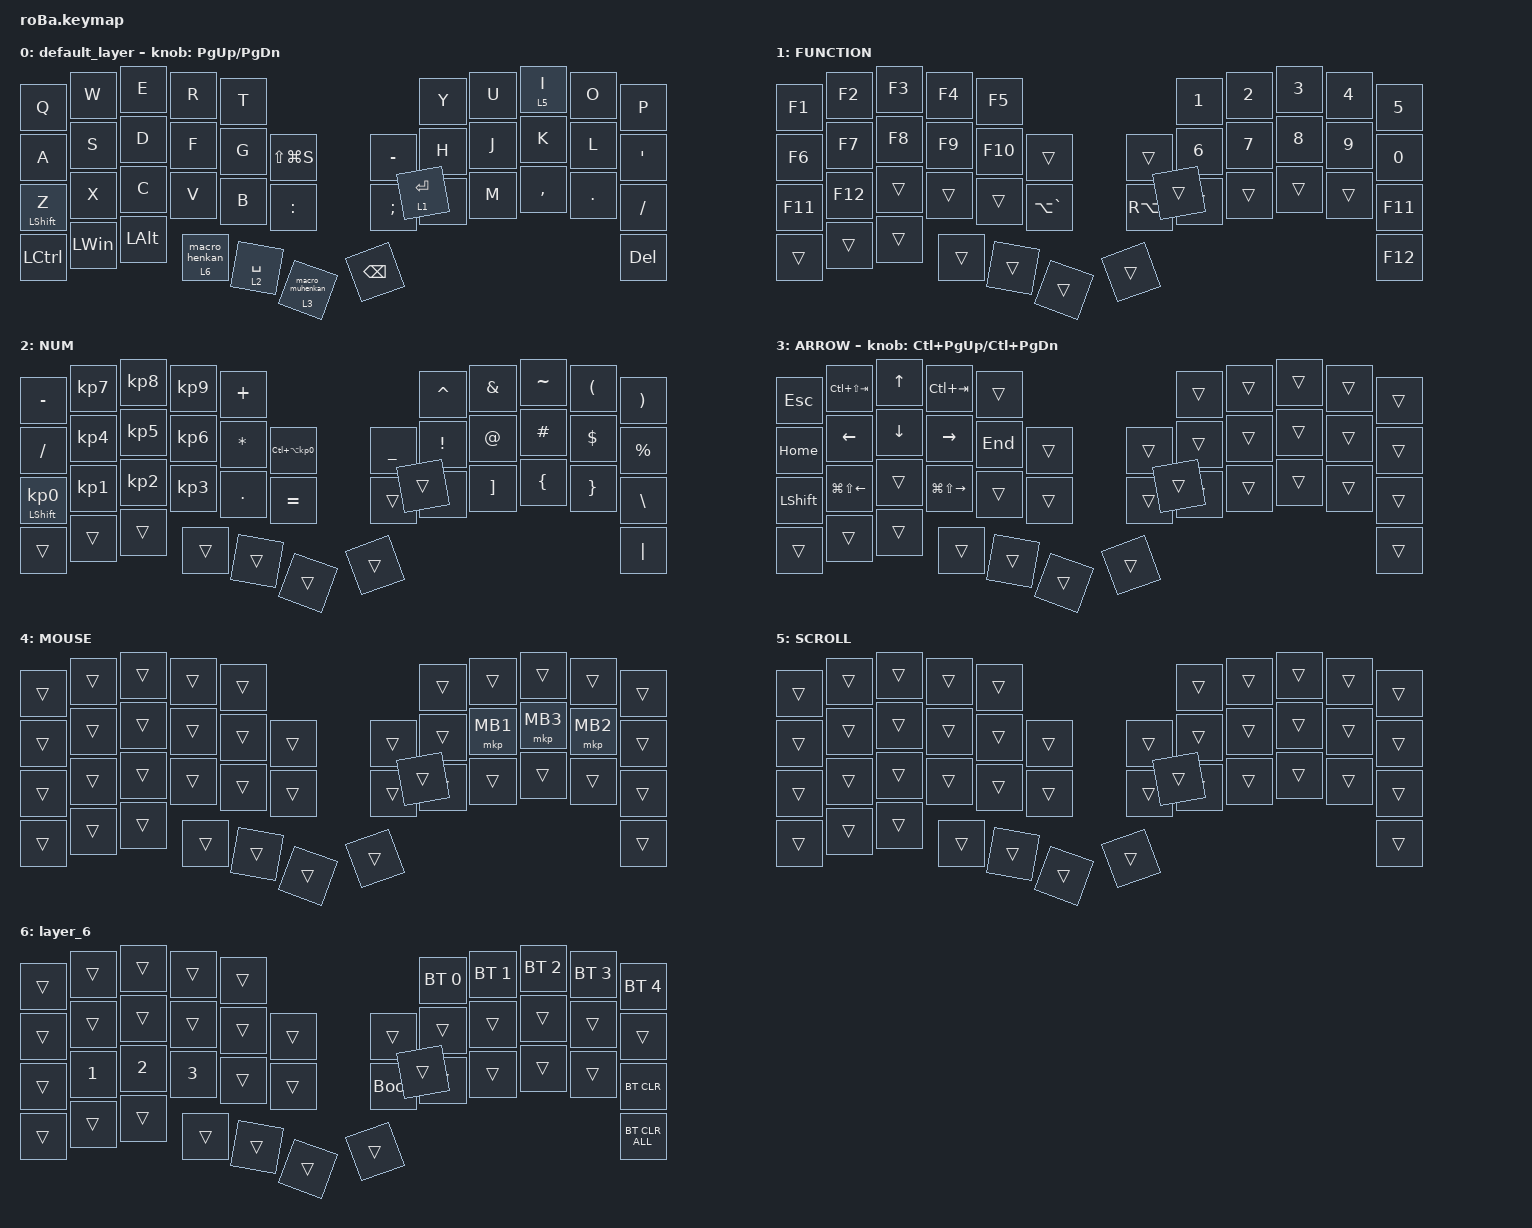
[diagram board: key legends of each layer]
#include <behaviors.dtsi>
#include <dt-bindings/zmk/bt.h>
#include <dt-bindings/zmk/keys.h>
#include <dt-bindings/zmk/pointing.h>

#define MACRO_PLACEHOLDER 0

&mt {
    flavor = "balanced";
    quick-tap-ms = <0>;
};

/ {
    combos {
        compatible = "zmk,combos";

        tab {
            bindings = <&kp TAB>;
            key-positions = <11 12>;
        };

        shift_tab {
            bindings = <&kp LS(TAB)>;
            key-positions = <12 13>;
        };

        muhennkann {
            bindings = <&to_layer_0 INT_MUHENKAN>;
            key-positions = <11 10>;
        };

        double_quotation {
            bindings = <&kp DOUBLE_QUOTES>;
            key-positions = <20 21>;
        };

        eq {
            bindings = <&kp EQUAL>;
            key-positions = <24 25>;
        };
    };

    macros {
        jis_at: jis_at { compatible = "zmk,behavior-macro"; #binding-cells = <0>; bindings = <&kp LBKT>; label = "JIS_AT"; };
        jis_colon: jis_colon { compatible = "zmk,behavior-macro"; #binding-cells = <0>; bindings = <&kp SQT>; label = "JIS_COLON"; };
        jis_plus: jis_plus { compatible = "zmk,behavior-macro"; #binding-cells = <0>; bindings = <&kp LS(SEMI)>; label = "JIS_PLUS"; };
        jis_star: jis_star { compatible = "zmk,behavior-macro"; #binding-cells = <0>; bindings = <&kp LS(SQT)>; label = "JIS_STAR"; };
        jis_equal: jis_equal { compatible = "zmk,behavior-macro"; #binding-cells = <0>; bindings = <&kp LS(MINUS)>; label = "JIS_EQUAL"; };
        jis_dqt: jis_dqt { compatible = "zmk,behavior-macro"; #binding-cells = <0>; bindings = <&kp LS(N2)>; label = "JIS_DQT"; };
        jis_under: jis_under { compatible = "zmk,behavior-macro"; #binding-cells = <0>; bindings = <&kp LS(INT1)>; label = "JIS_UNDER"; };

        macro_henkan: macro_henkan { compatible = "zmk,behavior-macro"; #binding-cells = <0>; bindings = <&to 0 &kp INT_HENKAN>; label = "MACRO_HENKAN"; };
        macro_muhenkan: macro_muhenkan { compatible = "zmk,behavior-macro"; #binding-cells = <0>; bindings = <&to 0 &kp INT_MUHENKAN>; label = "MACRO_MUHENKAN"; };
        to_layer_0: to_layer_0 { compatible = "zmk,behavior-macro-one-param"; #binding-cells = <1>; bindings = <&to 0 &macro_param_1to1 &kp MACRO_PLACEHOLDER>; label = "TO_LAYER_0"; };
    };

    behaviors {
        lt_henkan: lt_henkan { compatible = "zmk,behavior-hold-tap"; label = "LT_HENKAN"; #binding-cells = <2>; bindings = <&mo>, <&macro_henkan>; tapping-term-ms = <200>; };
        lt_muhenkan: lt_muhenkan { compatible = "zmk,behavior-hold-tap"; label = "LT_MUHENKAN"; #binding-cells = <2>; bindings = <&mo>, <&macro_muhenkan>; tapping-term-ms = <200>; };
    };

    keymap {
        compatible = "zmk,keymap";

        default_layer {
            bindings = <
&kp Q             &kp W         &kp E         &kp R           &kp T                                             &kp Y        &kp U  &lt 5 I    &kp O    &kp P
&kp A             &kp S         &kp D         &kp F           &kp G        &kp LS(LG(S))         &kp MINUS      &kp H        &kp J  &kp K      &kp L    &kp SQT
&mt LEFT_SHIFT Z  &kp X         &kp C         &kp V           &kp B        &kp COLON             &kp SEMICOLON  &kp N        &kp M  &kp COMMA  &kp DOT  &kp SLASH
&kp LCTRL         &kp LEFT_WIN  &kp LEFT_ALT  &lt_henkan 6 0  &lt 2 SPACE  &lt_muhenkan 3 0      &kp BACKSPACE  &lt 1 ENTER                             &kp DEL
            >;
            sensor-bindings = <&inc_dec_kp PG_UP PG_DN>;
        };

        FUNCTION {
            bindings = <
&kp F1   &kp F2   &kp F3  &kp F4  &kp F5                                     &kp NUMBER_1  &kp NUMBER_2  &kp NUMBER_3  &kp NUMBER_4  &kp NUMBER_5
&kp F6   &kp F7   &kp F8  &kp F9  &kp F10  &trans             &trans         &kp NUMBER_6  &kp NUMBER_7  &kp NUMBER_8  &kp NUMBER_9  &kp NUMBER_0
&kp F11  &kp F12  &trans  &trans  &trans   &kp LA(GRAVE)      &kp RA(GRAVE)  &trans        &trans        &trans        &trans        &kp F11
&trans   &trans   &trans  &trans  &trans   &trans             &trans         &trans                                                  &kp F12
            >;
        };

        NUM {
            bindings = <
&kp MINUS                   &kp KP_NUMBER_7  &kp KP_NUMBER_8  &kp KP_NUMBER_9  &kp PLUS                                                   &kp CARET         &kp AMPERSAND      &kp TILDE       &kp LEFT_PARENTHESIS  &kp RIGHT_PARENTHESIS
&kp SLASH                   &kp KP_NUMBER_4  &kp KP_NUMBER_5  &kp KP_NUMBER_6  &kp ASTERISK  &kp LC(LA(KP_NUMBER_0))      &kp UNDERSCORE  &kp EXCLAMATION   &kp AT_SIGN        &kp HASH        &kp DOLLAR            &kp PERCENT
&mt LEFT_SHIFT KP_NUMBER_0  &kp KP_NUMBER_1  &kp KP_NUMBER_2  &kp KP_NUMBER_3  &kp PERIOD    &kp EQUAL                    &trans          &kp LEFT_BRACKET  &kp RIGHT_BRACKET  &kp LEFT_BRACE  &kp RIGHT_BRACE       &kp BACKSLASH
&trans                      &trans           &trans           &trans           &trans        &trans                       &trans          &trans                                                                     &kp PIPE
            >;
        };

        ARROW {
            bindings = <
&kp ESCAPE      &kp LC(LS(TAB))         &kp UP_ARROW    &kp LC(TAB)              &trans                       &trans  &trans  &trans  &trans  &trans
&kp HOME        &kp LEFT_ARROW          &kp DOWN_ARROW  &kp RIGHT_ARROW          &kp END  &trans      &trans  &trans  &trans  &trans  &trans  &trans
&kp LEFT_SHIFT  &kp LG(LS(LEFT_ARROW))  &trans          &kp LG(LS(RIGHT_ARROW))  &trans   &trans      &trans  &trans  &trans  &trans  &trans  &trans
&trans          &trans                  &trans          &trans                   &trans   &trans      &trans  &trans                          &trans
            >;
            sensor-bindings = <&inc_dec_kp LC(PAGE_UP) LC(PAGE_DOWN)>;
        };

        MOUSE {
            bindings = <
&trans  &trans  &trans  &trans  &trans                      &trans  &trans    &trans    &trans    &trans
&trans  &trans  &trans  &trans  &trans  &trans      &trans  &trans  &mkp MB1  &mkp MB3  &mkp MB2  &trans
&trans  &trans  &trans  &trans  &trans  &trans      &trans  &trans  &trans    &trans    &trans    &trans
&trans  &trans  &trans  &trans  &trans  &trans      &trans  &trans                                &trans
            >;
        };

        SCROLL {
            bindings = <
&trans  &trans  &trans  &trans  &trans                      &trans  &trans  &trans  &trans  &trans
&trans  &trans  &trans  &trans  &trans  &trans      &trans  &trans  &trans  &trans  &trans  &trans
&trans  &trans  &trans  &trans  &trans  &trans      &trans  &trans  &trans  &trans  &trans  &trans
&trans  &trans  &trans  &trans  &trans  &trans      &trans  &trans                          &trans
            >;
        };

        layer_6 {
            bindings = <
&trans  &trans        &trans        &trans        &trans                           &bt BT_SEL 0  &bt BT_SEL 1  &bt BT_SEL 2  &bt BT_SEL 3  &bt BT_SEL 4
&trans  &trans        &trans        &trans        &trans  &trans      &trans       &trans        &trans        &trans        &trans        &trans
&trans  &kp NUMBER_1  &kp NUMBER_2  &kp NUMBER_3  &trans  &trans      &bootloader  &trans        &trans        &trans        &trans        &bt BT_CLR
&trans  &trans        &trans        &trans        &trans  &trans      &trans       &trans                                                  &bt BT_CLR_ALL
            >;
        };
    };
};
